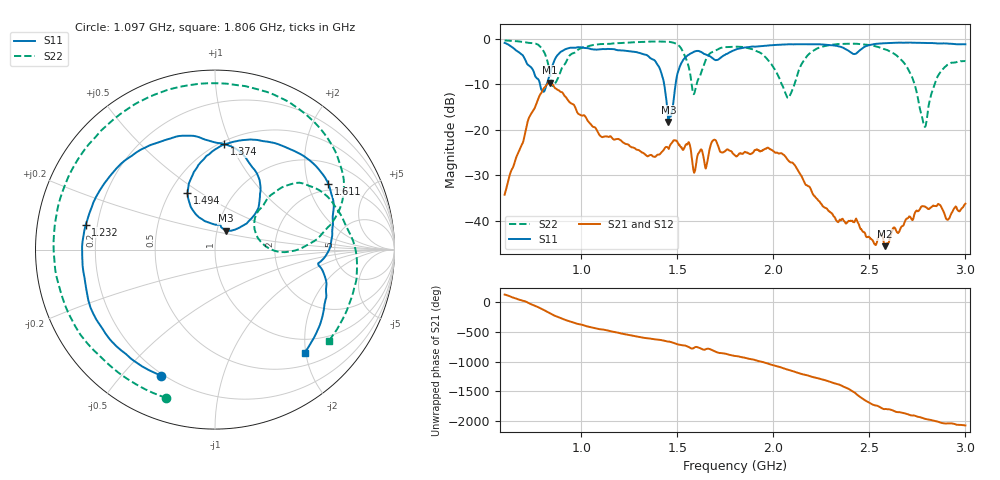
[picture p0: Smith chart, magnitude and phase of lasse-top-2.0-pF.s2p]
#  HZ  S  RI  R  50.00
! Rohde & Schwarz ZVB8 2Ports - Version 2.81 - 1145.1010k08 SN: 100113
! Date: 2016-03-31 03:58:30
! Measurements: S11 S21 S12 S22
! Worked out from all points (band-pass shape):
!   1000 points, 600 MHz to 3 GHz, reference 50 ohm
!   highest |S21| = -9.65 dB at 837.8 MHz (marker M1); lowest = -45.6 dB at 2.58 GHz (marker M2)
!   |S21| within 3 dB of the highest: 780.7 MHz to 913.8 MHz (133.1 MHz wide, 15.7 % of centre)
!   lowest |S11| = -18.3 dB at 1.453 GHz (marker M3), VSWR 1.28, Z = 55.1 + j11.7 ohm
!   |S11| at or under -10 dB: 784.2 MHz to 819.9 MHz (35.64 MHz wide, 4.44 % of centre); 1.431 GHz to 1.491 GHz (59.7 MHz wide, 4.09 % of centre)
!   |S22| runs from -19.4 to -0.4 dB; largest |S21 - S12| = 0.0027
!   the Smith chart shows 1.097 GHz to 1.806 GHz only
!   S11 on the Smith chart (normalised r, x): 1.097 GHz: 0.19, -0.64; 1.232 GHz: 0.16, +0.09; 1.374 GHz: 0.52, +0.94; 1.494 GHz: 0.61, +0.44; 1.611 GHz: 1.74, +2.72; 1.806 GHz: 0.73, -1.98
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6e8  0.1247 0.8873  -0.0123 0.0149  -0.0124 0.0148  -0.1054 0.9469
7.585586e8  0.3839 0.0696  0.0842 -0.1545  0.0838 -0.1537  0.8518 0.2358
8.378378e8  0.3273 0.2732  -0.3244 0.0552  -0.3241 0.0549  0.3231 -0.2312
9.171171e8  0.7539 -0.1284  0.1103 0.2017  0.1101 0.2017  0.5319 -0.0786
1.001201e9  0.3838 -0.7035  0.1354 -0.0457  0.1353 -0.0453  0.4611 -0.6405
1.097297e9  -0.3012 -0.7014  -0.00723 -0.0856  -0.00749 -0.0857  -0.2705 -0.8256
1.231832e9  -0.7199 0.1395  -0.0694 0.00269  -0.0693 0.00273  -0.8995 0.0124
1.373574e9  0.0507 0.5879  -0.00736 0.0501  -0.00751 0.0501  -0.2839 0.8831
1.4e9  0.2087 0.4579  0.00166 0.0532  0.00153 0.0532  -0.0779 0.9246
1.452853e9  0.0602 0.1051  0.0355 0.0507  0.0354 0.0506  0.3648 0.8457
1.493694e9  -0.1533 0.3154  0.0718 0.0243  0.0717 0.0243  0.6446 0.5933
1.611411e9  0.6321 0.365  0.0377 -0.0407  0.0377 -0.0405  0.2704 0.2462
1.801201e9  0.5192 -0.5457  -0.0516 0.00597  -0.0516 0.00597  0.6521 -0.4847
1.806006e9  0.4991 -0.574  -0.0503 0.00738  -0.0503 0.0074  0.6329 -0.5111
1.909309e9  -0.2198 -0.7854  -0.011 0.0592  -0.011 0.059  0.0129 -0.7315
2.024625e9  -0.8394 -0.1543  0.0548 -0.00502  0.0548 -0.00496  -0.3087 -0.2404
2.2e9  -0.1699 0.8506  -0.0209 -0.0011  -0.0208 -0.00115  -0.6311 -0.3415
2.401802e9  0.6739 0.2134  0.00757 -0.00647  0.00762 -0.00642  -0.1768 0.8599
2.57958e9  0.6882 -0.5623  0.00526 -6.69e-05  0.00531 -9.59e-05  0.72 0.2552
2.601201e9  0.5939 -0.6685  0.00575 -0.00053  0.00582 -0.000521  0.7227 0.1162
2.786186e9  -0.5343 -0.7177  -0.0137 -0.00445  -0.0137 -0.00452  0.1034 -0.0353
3e9  -0.6384 0.5833  0.00201 0.0153  0.00195 0.0152  0.3015 -0.4789
